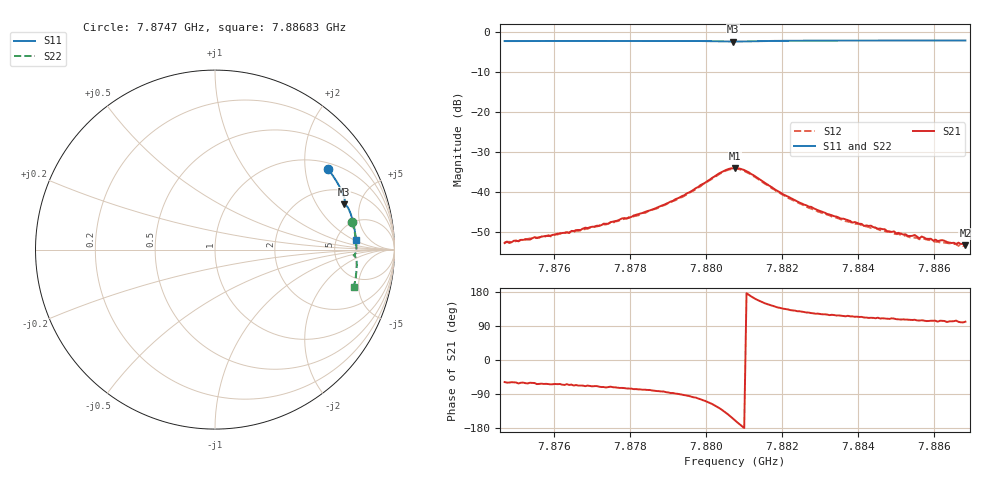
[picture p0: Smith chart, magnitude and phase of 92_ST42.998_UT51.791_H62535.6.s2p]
#  HZ  S  DB  R  50.00
! Rohde & Schwarz Vector Network Analyzer
! Rohde-Schwarz,ZNB20-2Port,1311601062101988,3.16
! Created: UTC 1/12/2023, 6:36:03 PM
! freq[Hz]  db:S11  ang:S11  db:S21  ang:S21  db:S12  ang:S12  db:S22  ang:S22
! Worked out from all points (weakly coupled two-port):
!   201 points, 7.8747 GHz to 7.88683 GHz, reference 50 ohm
!   highest |S21| = -33.99 dB at 7.88077 GHz (marker M1); lowest = -53.2 dB at 7.88683 GHz (marker M2)
!   lowest |S11| = -2.3 dB at 7.88071 GHz (marker M3), VSWR 7.45, Z = 147 + j178 ohm
!   |S11| at or under -10 dB: nowhere
!   |S22| runs from -2.2 to -1.9 dB; largest |S21 - S12| = 0.0013
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7.874702e9  -2.23 35.4  -52.72 -58.3  -52.61 -62.3  -2.17 11.3
7.876401e9  -2.21 30.7  -50.20 -65.9  -50.11 -69.4  -2.11 7.2
7.876765e9  -2.20 29.7  -49.10 -67.6  -49.31 -70.0  -2.10 6.4
7.877553e9  -2.19 27.6  -47.38 -71.8  -47.68 -75.8  -2.08 4.6
7.877978e9  -2.18 26.4  -46.42 -75.3  -46.25 -79.3  -2.08 3.6
7.878766e9  -2.19 24.2  -43.65 -82.2  -43.81 -86.0  -2.07 1.7
7.879433e9  -2.19 22.3  -40.76 -92.6  -40.92 -96.1  -2.07 0.0
7.880343e9  -2.29 19.8  -35.34 -126.3  -35.54 -129.5  -2.18 -2.1
7.880707e9  -2.35 19.4  -34.04 -154.0  -34.19 -157.0  -2.23 -2.4
7.880768e9  -2.35 19.3  -33.99 -159.3  -34.14 -162.3  -2.23 -2.4
7.881132e9  -2.29 18.9  -35.04 171.9  -35.28 168.5  -2.17 -2.5
7.882041e9  -2.17 16.6  -40.58 135.4  -40.73 132.2  -2.04 -4.5
7.88283e9  -2.13 14.4  -43.98 123.2  -44.31 120.5  -2.00 -6.3
7.883861e9  -2.11 11.6  -47.61 115.1  -47.70 111.4  -1.97 -8.7
7.884831e9  -2.10 9.1  -49.83 108.4  -49.85 106.3  -1.95 -10.9
7.885317e9  -2.09 7.8  -50.93 106.5  -51.09 103.4  -1.94 -12.0
7.885499e9  -2.09 7.3  -50.71 106.2  -51.37 101.9  -1.94 -12.4
7.88562e9  -2.09 7.0  -51.55 104.1  -51.77 103.5  -1.94 -12.6
7.885681e9  -2.09 6.8  -51.09 104.8  -51.62 103.6  -1.94 -12.7
7.885984e9  -2.08 6.0  -52.10 103.6  -52.27 101.3  -1.94 -13.4
7.886226e9  -2.08 5.4  -51.99 103.4  -52.65 99.1  -1.93 -13.9
7.886833e9  -2.08 3.8  -53.25 101.1  -53.50 98.0  -1.92 -15.2
